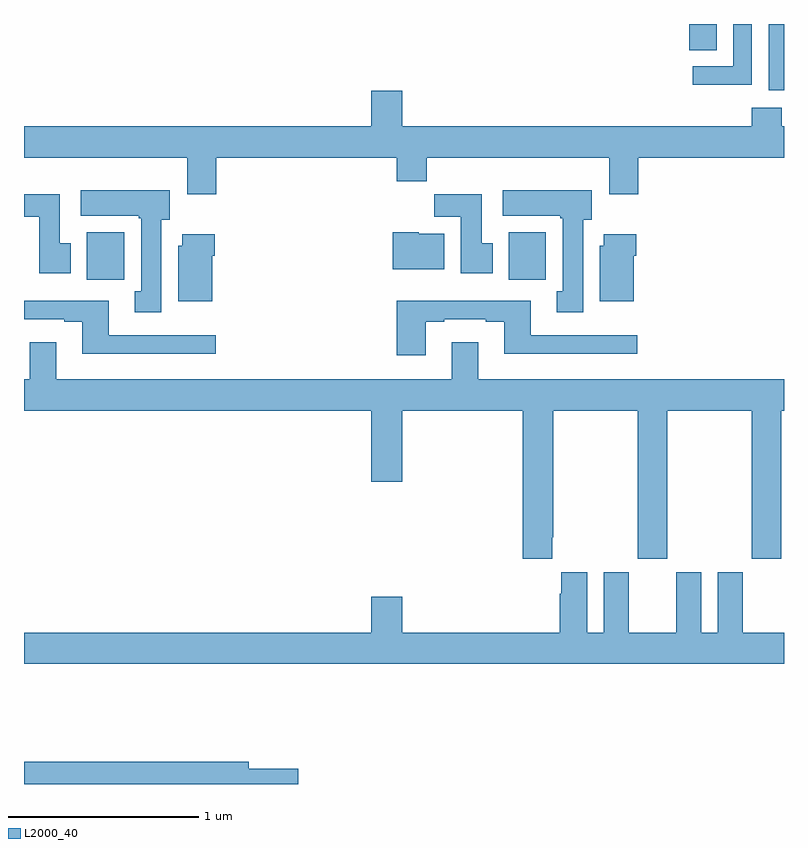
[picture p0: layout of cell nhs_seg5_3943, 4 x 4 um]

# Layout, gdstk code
import gdstk
lib = gdstk.Library(unit=1e-6, precision=1e-09)
def R(c, l, rs):  # rectangles x0, y0, x1, y1
    for r in rs: c.add(gdstk.rectangle(r[:2], r[2:], *l))
def P(c, l, *ps):  # polygons
    for p in ps: c.add(gdstk.Polygon(p, *l))
L2000_40 = (2000, 40)

nhs_seg5_3943 = lib.new_cell('nhs_seg5_3943')
R(nhs_seg5_3943, L2000_40, [(343.331,853.452,343.527,853.702), (345.551,853.452,345.747,853.702), (346.919,854.45,347,854.799), (346.502,854.662,346.645,854.799)])
P(nhs_seg5_3943, L2000_40, [(346.83,854.799),(346.734,854.799),(346.734,854.577),(346.521,854.577),(346.521,854.479),(346.83,854.479)],
  [(344.012,854.096),(344.963,854.096),(344.963,853.972),(345.119,853.972),(345.119,854.096),(346.079,854.096),(346.079,853.902),(346.232,853.902),(346.232,854.096),(347,854.096),(347,854.26),(346.989,854.26),(346.989,854.359),(346.829,854.359),(346.829,854.26),(344.992,854.26),(344.992,854.449),(344.828,854.449),(344.828,854.26),(343,854.26),(343,854.096),(343.859,854.096),(343.859,853.902),(344.012,853.902)],
  [(345.943,853.77),(345.988,853.77),(345.988,853.924),(345.519,853.924),(345.519,853.79),(345.823,853.79),(345.823,853.777),(345.836,853.777),(345.836,853.393),(345.803,853.393),(345.803,853.281),(345.943,853.281)],
  [(343.723,853.77),(343.768,853.77),(343.768,853.924),(343.299,853.924),(343.299,853.79),(343.603,853.79),(343.603,853.777),(343.616,853.777),(343.616,853.393),(343.583,853.393),(343.583,853.281),(343.723,853.281)],
  [(345.466,853.644),(345.409,853.644),(345.409,853.903),(345.16,853.903),(345.16,853.784),(345.299,853.784),(345.299,853.488),(345.466,853.488)],
  [(343.246,853.644),(343.189,853.644),(343.189,853.903),(343,853.903),(343,853.784),(343.079,853.784),(343.079,853.488),(343.246,853.488)],
  [(345.211,853.696),(345.078,853.696),(345.078,853.702),(344.942,853.702),(344.942,853.508),(345.211,853.508)],
  [(343.99,853.58),(344.003,853.58),(344.003,853.693),(343.832,853.693),(343.832,853.632),(343.811,853.632),(343.811,853.34),(343.99,853.34)],
  [(346.21,853.58),(346.223,853.58),(346.223,853.693),(346.052,853.693),(346.052,853.632),(346.031,853.632),(346.031,853.34),(346.21,853.34)],
  [(345.115,853.233),(345.211,853.233),(345.211,853.245),(345.431,853.245),(345.431,853.233),(345.527,853.233),(345.527,853.064),(346.228,853.064),(346.228,853.161),(345.667,853.161),(345.667,853.342),(344.963,853.342),(344.963,853.056),(345.115,853.056)],
  [(344.008,853.161),(343.447,853.161),(343.447,853.342),(343,853.342),(343,853.245),(343.211,853.245),(343.211,853.233),(343.307,853.233),(343.307,853.064),(344.008,853.064)],
  [(345.781,852.097),(345.786,852.097),(345.786,852.764),(346.231,852.764),(346.231,851.985),(346.386,851.985),(346.386,852.764),(346.831,852.764),(346.831,851.985),(346.986,851.985),(346.986,852.764),(347,852.764),(347,852.928),(345.391,852.928),(345.391,853.123),(345.251,853.123),(345.251,852.928),(343.171,852.928),(343.171,853.123),(343.031,853.123),(343.031,852.928),(343,852.928),(343,852.764),(344.828,852.764),(344.828,852.39),(344.992,852.39),(344.992,852.764),(345.626,852.764),(345.626,851.985),(345.781,851.985)],
  [(347,851.596),(346.783,851.596),(346.783,851.914),(346.652,851.914),(346.652,851.596),(346.564,851.596),(346.564,851.914),(346.433,851.914),(346.433,851.596),(346.183,851.596),(346.183,851.914),(346.052,851.914),(346.052,851.596),(345.964,851.596),(345.964,851.914),(345.827,851.914),(345.827,851.801),(345.821,851.801),(345.821,851.596),(344.992,851.596),(344.992,851.785),(344.828,851.785),(344.828,851.596),(343,851.596),(343,851.432),(347,851.432)],
  [(344.443,850.88),(344.182,850.88),(344.182,850.916),(343,850.916),(343,850.799),(344.443,850.799)])

lib.write_gds('nhs_seg5_3943.gds')
